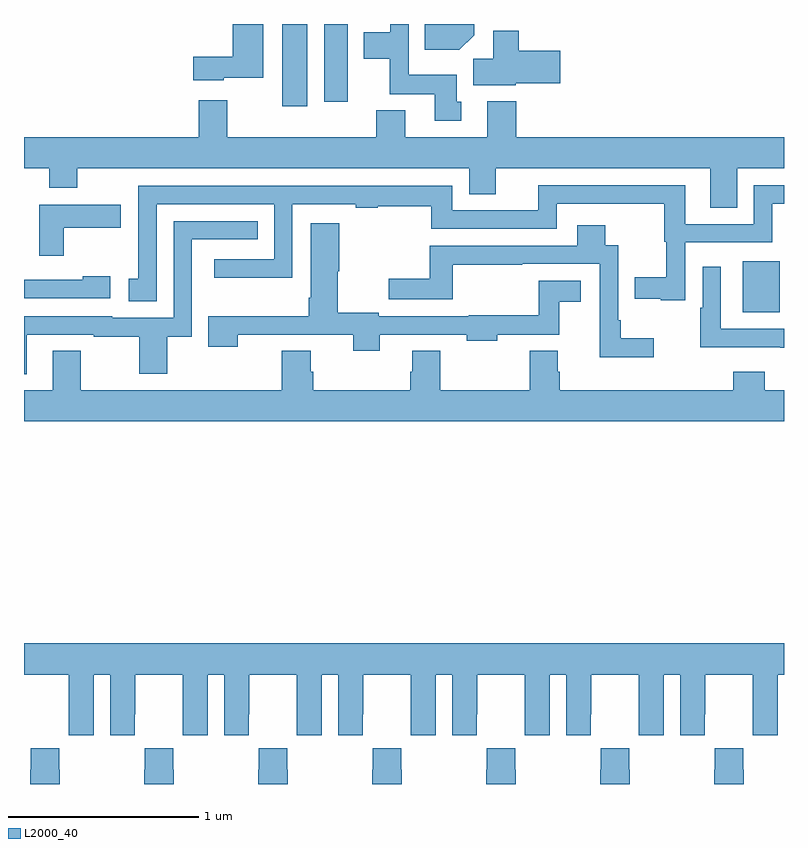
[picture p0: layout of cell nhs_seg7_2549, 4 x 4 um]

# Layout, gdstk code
import gdstk
lib = gdstk.Library(unit=1e-6, precision=1e-09)
def R(c, l, rs):  # rectangles x0, y0, x1, y1
    for r in rs: c.add(gdstk.rectangle(r[:2], r[2:], *l))
def P(c, l, *ps):  # polygons
    for p in ps: c.add(gdstk.Polygon(p, *l))
L2000_40 = (2000, 40)

nhs_seg7_2549 = lib.new_cell('nhs_seg7_2549')
R(nhs_seg7_2549, L2000_40, [(280.784,1042.484,280.978,1042.752), (278.36,1043.568,278.491,1044), (278.579,1043.592,278.704,1044)])
P(nhs_seg7_2549, L2000_40, [(279.301,1043.592),(279.277,1043.592),(279.277,1043.734),(279.024,1043.734),(279.024,1044),(278.928,1044),(278.928,1043.956),(278.789,1043.956),(278.789,1043.816),(278.926,1043.816),(278.926,1043.63),(279.161,1043.63),(279.161,1043.49),(279.301,1043.49)],
  [(279.37,1043.942),(279.37,1044),(279.109,1044),(279.109,1043.864),(279.292,1043.864)],
  [(278.052,1043.717),(278.26,1043.717),(278.26,1044),(278.098,1044),(278.098,1043.827),(277.89,1043.827),(277.89,1043.705),(278.052,1043.705)],
  [(279.588,1043.687),(279.823,1043.687),(279.823,1043.858),(279.605,1043.858),(279.605,1043.965),(279.47,1043.965),(279.47,1043.816),(279.365,1043.816),(279.365,1043.678),(279.588,1043.678)],
  [(280.753,1043.24),(281,1043.24),(281,1043.404),(279.59,1043.404),(279.59,1043.593),(279.437,1043.593),(279.437,1043.404),(279.007,1043.404),(279.007,1043.545),(278.855,1043.545),(278.855,1043.404),(278.071,1043.404),(278.071,1043.599),(277.919,1043.599),(277.919,1043.404),(277,1043.404),(277,1043.24),(277.133,1043.24),(277.133,1043.138),(277.281,1043.138),(277.281,1043.24),(279.344,1043.24),(279.344,1043.104),(279.484,1043.104),(279.484,1043.24),(280.613,1043.24),(280.613,1043.032),(280.753,1043.032)],
  [(277.698,1043.052),(278.316,1043.052),(278.316,1042.761),(278.001,1042.761),(278.001,1042.664),(278.412,1042.664),(278.412,1043.052),(278.746,1043.052),(278.746,1043.032),(278.862,1043.032),(278.862,1043.04),(279.143,1043.04),(279.143,1042.923),(279.804,1042.923),(279.804,1043.055),(280.147,1043.055),(280.147,1043.053),(280.371,1043.053),(280.371,1042.854),(280.381,1042.854),(280.381,1042.666),(280.215,1042.666),(280.215,1042.555),(280.352,1042.555),(280.352,1042.545),(280.479,1042.545),(280.479,1042.851),(280.938,1042.851),(280.938,1043.055),(281,1043.055),(281,1043.151),(280.842,1043.151),(280.842,1042.947),(280.48,1042.947),(280.48,1043.151),(279.706,1043.151),(279.706,1043.019),(279.255,1043.019),(279.255,1043.148),(277.602,1043.148),(277.602,1042.659),(277.551,1042.659),(277.551,1042.54),(277.698,1042.54)],
  [(277.209,1042.928),(277.51,1042.928),(277.51,1043.05),(277.079,1043.05),(277.079,1042.779),(277.209,1042.779)],
  [(277.015,1042.365),(277.368,1042.365),(277.368,1042.354),(277.606,1042.354),(277.606,1042.158),(277.753,1042.158),(277.753,1042.354),(277.884,1042.354),(277.884,1042.866),(278.231,1042.866),(278.231,1042.962),(277.788,1042.962),(277.788,1042.455),(277.464,1042.455),(277.464,1042.461),(277,1042.461),(277,1042.157),(277.015,1042.157)],
  [(278.872,1042.365),(279.331,1042.365),(279.331,1042.334),(279.491,1042.334),(279.491,1042.365),(279.818,1042.365),(279.818,1042.538),(279.931,1042.538),(279.931,1042.648),(279.708,1042.648),(279.708,1042.466),(279.342,1042.466),(279.342,1042.461),(278.868,1042.461),(278.868,1042.481),(278.65,1042.481),(278.65,1042.698),(278.658,1042.698),(278.658,1042.951),(278.51,1042.951),(278.51,1042.558),(278.498,1042.558),(278.498,1042.463),(278.077,1042.463),(278.077,1042.461),(277.969,1042.461),(277.969,1042.302),(278.126,1042.302),(278.126,1042.365),(278.732,1042.365),(278.732,1042.28),(278.872,1042.28)],
  [(280.315,1042.346),(280.141,1042.346),(280.141,1042.441),(280.128,1042.441),(280.128,1042.836),(280.059,1042.836),(280.059,1042.942),(279.911,1042.942),(279.911,1042.833),(279.135,1042.833),(279.135,1042.66),(278.919,1042.66),(278.919,1042.551),(279.256,1042.551),(279.256,1042.732),(279.623,1042.732),(279.623,1042.737),(280.031,1042.737),(280.031,1042.247),(280.315,1042.247)],
  [(281,1042.395),(280.668,1042.395),(280.668,1042.723),(280.572,1042.723),(280.572,1042.506),(280.56,1042.506),(280.56,1042.299),(280.981,1042.299),(280.981,1042.297),(281,1042.297)],
  [(277.453,1042.672),(277.308,1042.672),(277.308,1042.653),(277,1042.653),(277,1042.557),(277.453,1042.557)],
  [(281,1042.072),(280.898,1042.072),(280.898,1042.171),(280.733,1042.171),(280.733,1042.072),(279.821,1042.072),(279.821,1042.17),(279.808,1042.17),(279.808,1042.28),(279.661,1042.28),(279.661,1042.072),(279.192,1042.072),(279.192,1042.28),(279.044,1042.28),(279.044,1042.17),(279.032,1042.17),(279.032,1042.072),(278.522,1042.072),(278.522,1042.17),(278.509,1042.17),(278.509,1042.28),(278.357,1042.28),(278.357,1042.072),(277.299,1042.072),(277.299,1042.279),(277.151,1042.279),(277.151,1042.072),(277,1042.072),(277,1041.908),(281,1041.908)],
  [(277.366,1040.576),(277.454,1040.576),(277.454,1040.256),(277.584,1040.256),(277.584,1040.368),(277.585,1040.368),(277.585,1040.576),(277.835,1040.576),(277.835,1040.368),(277.836,1040.368),(277.836,1040.256),(277.966,1040.256),(277.966,1040.576),(278.054,1040.576),(278.054,1040.256),(278.184,1040.256),(278.184,1040.368),(278.185,1040.368),(278.185,1040.576),(278.435,1040.576),(278.435,1040.368),(278.436,1040.368),(278.436,1040.256),(278.566,1040.256),(278.566,1040.576),(278.654,1040.576),(278.654,1040.256),(278.784,1040.256),(278.784,1040.368),(278.785,1040.368),(278.785,1040.576),(279.035,1040.576),(279.035,1040.368),(279.036,1040.368),(279.036,1040.256),(279.166,1040.256),(279.166,1040.576),(279.254,1040.576),(279.254,1040.256),(279.384,1040.256),(279.384,1040.368),(279.385,1040.368),(279.385,1040.576),(279.635,1040.576),(279.635,1040.368),(279.636,1040.368),(279.636,1040.256),(279.766,1040.256),(279.766,1040.576),(279.854,1040.576),(279.854,1040.256),(279.984,1040.256),(279.984,1040.368),(279.985,1040.368),(279.985,1040.576),(280.235,1040.576),(280.235,1040.368),(280.236,1040.368),(280.236,1040.256),(280.366,1040.256),(280.366,1040.576),(280.454,1040.576),(280.454,1040.256),(280.584,1040.256),(280.584,1040.368),(280.585,1040.368),(280.585,1040.576),(280.835,1040.576),(280.835,1040.368),(280.836,1040.368),(280.836,1040.256),(280.966,1040.256),(280.966,1040.576),(281,1040.576),(281,1040.74),(277,1040.74),(277,1040.576),(277.235,1040.576),(277.235,1040.368),(277.236,1040.368),(277.236,1040.256),(277.366,1040.256)],
  [(280.788,1040.075),(280.785,1040.075),(280.785,1040.188),(280.635,1040.188),(280.635,1040.075),(280.633,1040.075),(280.633,1040),(280.788,1040)],
  [(277.188,1040.075),(277.185,1040.075),(277.185,1040.188),(277.035,1040.188),(277.035,1040.075),(277.033,1040.075),(277.033,1040),(277.188,1040)],
  [(277.788,1040.075),(277.785,1040.075),(277.785,1040.188),(277.635,1040.188),(277.635,1040.075),(277.633,1040.075),(277.633,1040),(277.788,1040)],
  [(278.388,1040.075),(278.385,1040.075),(278.385,1040.188),(278.235,1040.188),(278.235,1040.075),(278.233,1040.075),(278.233,1040),(278.388,1040)],
  [(278.988,1040.075),(278.985,1040.075),(278.985,1040.188),(278.835,1040.188),(278.835,1040.075),(278.833,1040.075),(278.833,1040),(278.988,1040)],
  [(279.588,1040.075),(279.585,1040.075),(279.585,1040.188),(279.435,1040.188),(279.435,1040.075),(279.433,1040.075),(279.433,1040),(279.588,1040)],
  [(280.188,1040.075),(280.185,1040.075),(280.185,1040.188),(280.035,1040.188),(280.035,1040.075),(280.033,1040.075),(280.033,1040),(280.188,1040)])

lib.write_gds('nhs_seg7_2549.gds')
